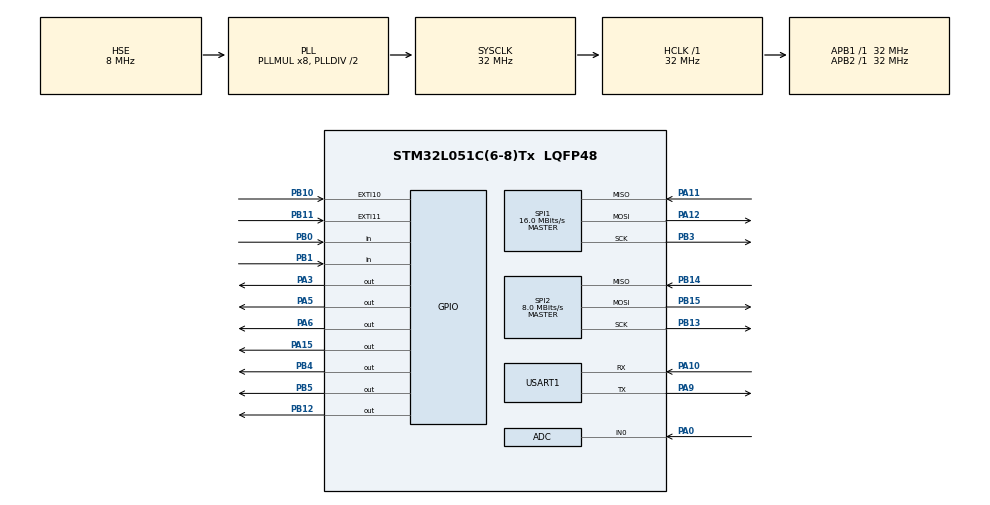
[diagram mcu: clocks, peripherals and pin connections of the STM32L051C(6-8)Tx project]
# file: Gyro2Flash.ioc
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Mcu.Family=STM32L0
Mcu.Name=STM32L051C(6-8)Tx
Mcu.Package=LQFP48
NVIC.USART1_IRQn=true\:0\:0\:false\:false\:true\:true\:true\:true
PA0.Mode=IN0
PA0.Signal=ADC_IN0
PA10.Mode=Asynchronous
PA10.Signal=USART1_RX
PA11.Mode=Full_Duplex_Master
PA11.Signal=SPI1_MISO
PA12.Mode=Full_Duplex_Master
PA12.Signal=SPI1_MOSI
PA13.Mode=Serial_Wire
PA13.Signal=SYS_SWDIO
PA14.Mode=Serial_Wire
PA14.Signal=SYS_SWCLK
PA15.GPIO_Speed=GPIO_SPEED_FREQ_VERY_HIGH
PA15.Signal=GPIO_Output
PA3.Signal=GPIO_Output
PA5.Signal=GPIO_Output
PA6.Signal=GPIO_Output
PA9.Mode=Asynchronous
PA9.Signal=USART1_TX
PB0.Signal=GPIO_Input
PB1.Signal=GPIO_Input
PB10.Signal=GPXTI10
PB11.Signal=GPXTI11
PB12.GPIO_Speed=GPIO_SPEED_FREQ_VERY_HIGH
PB12.Signal=GPIO_Output
PB13.Mode=Full_Duplex_Master
PB13.Signal=SPI2_SCK
PB14.Mode=Full_Duplex_Master
PB14.Signal=SPI2_MISO
PB15.Mode=Full_Duplex_Master
PB15.Signal=SPI2_MOSI
PB3.Mode=Full_Duplex_Master
PB3.Signal=SPI1_SCK
PB4.Signal=GPIO_Output
PB5.Signal=GPIO_Output
PC14-OSC32_IN.Mode=LSE-External-Oscillator
PC14-OSC32_IN.Signal=RCC_OSC32_IN
PC15-OSC32_OUT.Mode=LSE-External-Oscillator
PC15-OSC32_OUT.Signal=RCC_OSC32_OUT
PH0-OSC_IN.Mode=HSE-External-Oscillator
PH0-OSC_IN.Signal=RCC_OSC_IN
PH1-OSC_OUT.Mode=HSE-External-Oscillator
PH1-OSC_OUT.Signal=RCC_OSC_OUT
ProjectManager.HeapSize=0x200
ProjectManager.StackSize=0x400
ProjectManager.TargetToolchain=Makefile
RCC.AHBFreq_Value=32000000
RCC.APB1Freq_Value=32000000
RCC.APB1TimFreq_Value=32000000
RCC.APB2Freq_Value=32000000
RCC.APB2TimFreq_Value=32000000
RCC.HCLKFreq_Value=32000000
RCC.HSE_VALUE=8000000
RCC.HSI16_VALUE=16000000
RCC.HSI_VALUE=16000000
RCC.MSI_VALUE=2097000
RCC.PLLMUL=RCC_PLLMUL_8
RCC.PLLSourceVirtual=RCC_PLLSOURCE_HSE
RCC.SYSCLKFreq_VALUE=32000000
RCC.SYSCLKSource=RCC_SYSCLKSOURCE_PLLCLK
RCC.VCOOutputFreq_Value=64000000
SPI1.CalculateBaudRate=16.0 MBits/s
SPI1.Direction=SPI_DIRECTION_2LINES
SPI1.Mode=SPI_MODE_MASTER
SPI1.VirtualType=VM_MASTER
SPI2.BaudRatePrescaler=SPI_BAUDRATEPRESCALER_4
SPI2.CalculateBaudRate=8.0 MBits/s
SPI2.Direction=SPI_DIRECTION_2LINES
SPI2.Mode=SPI_MODE_MASTER
SPI2.VirtualType=VM_MASTER
USART1.VirtualMode-Asynchronous=VM_ASYNC
board=custom

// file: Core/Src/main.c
/* USER CODE BEGIN Header */
/**
 ******************************************************************************
 * @file           : main.c
 * @brief          : Main program body
 ******************************************************************************
 * @attention
 *
 * Copyright (c) 2023 STMicroelectronics.
 * All rights reserved.
 *
 * This software is licensed under terms that can be found in the LICENSE file
 * in the root directory of this software component.
 * If no LICENSE file comes with this software, it is provided AS-IS.
 *
 ******************************************************************************
 */
/* USER CODE END Header */
#include "main.h"
#include "adc.h"
#include "spi.h"
#include "usart.h"
#include "gpio.h"
#include "lsm6dsrx_ctrl.h"
#include "at25sl128_ctrl.h"

/* USER CODE BEGIN PD */
const struct command_t commands[] = {
  {
    .pCmd = "erase all",
    .pContent = "erasing all the memory... it may take a while.\r\n",
    .state = GYRO2FLASH_CMD_ERASE_ALL,
  },
  // {
  //   .pCmd = "erase reserve",
  //   .pContent = "erasing reserve area... it is not recommanded.\r\n",
  //   .state = GYRO2FLASH_CMD_ERASE_RESERVE,
  // },
  {
    .pCmd = "read reserve",
    .pContent = "start reading reserve area...\r\n",
    .state = GYRO2FLASH_CMD_READ_RESERVE,
  },
  {
    .pCmd = "read all",
    .pContent = "start reading all the memory...\r\n",
    .state = GYRO2FLASH_CMD_READ_ALL,
  },
  {
    .pCmd = "read",
    .pContent = "",
    .state = GYRO2FLASH_CMD_READ_SILCE,
  },
};
/* USER CODE END PD */

/* USER CODE BEGIN PV */
stmdev_ctx_t lsm6dsrx_ctx;
int gyro2flash_state = GYRO2FLASH_IDLE;
extern uint8_t uart_rx_flag;
extern uint8_t uart_rx_buffer[];
/* USER CODE END PV */

void SystemClock_Config(void);

int main(void)
{
  /* USER CODE BEGIN 1 */
  uint8_t  reserve_data[RESERVE_DATA_SIZE] = {0};
  uint8_t  total_block_count = 0;
  uint32_t write_address = RESERVE_DATA_SIZE;
  uint32_t write_start_address = write_address;
  uint32_t write_block_count = 0;
  uint8_t  command_flag = 0;
  /* USER CODE END 1 */

  /* MCU Configuration--------------------------------------------------------*/

  /* Reset of all peripherals, Initializes the Flash interface and the Systick. */
  HAL_Init();

  /* Configure the system clock */
  SystemClock_Config();

  /* Initialize all configured peripherals */
  MX_GPIO_Init();
  HAL_GPIO_WritePin(AT25SL128_CTRL_CS_GPIO_PORT, AT25SL128_CTRL_CS_PIN, GPIO_PIN_SET);
  HAL_GPIO_WritePin(GPIOB, GPIO_PIN_4, GPIO_PIN_SET);
  HAL_GPIO_WritePin(GPIOB, GPIO_PIN_5, GPIO_PIN_SET);
  HAL_GPIO_WritePin(LSM6DSRX_CTRL_CS_GPIO_PORT, LSM6DSRX_CTRL_CS_PIN, GPIO_PIN_SET);
  MX_ADC_Init();
  MX_SPI1_Init();
  MX_SPI2_Init();
  MX_USART1_UART_Init();
  /* USER CODE BEGIN 2 */
  lsm6dsrx_read_data_polling_init(&lsm6dsrx_ctx);
  at25sl128_init();
  back_to_idle();
  // UART_RX_IT();
  // read reserve data & set start address & block count
  at25sl128_read_data(RESERVE_ADDRESS, reserve_data, RESERVE_DATA_SIZE);
  for (int i = 0; i < MAX_BLOCK_COUNT; i++)
  {
    if (reserve_data[6 * i] == 0xff) {
      total_block_count = i;
      if (i == 0)
      {
        write_start_address = BLOCK_SIZE;
      }
      else
      {
        uint8_t idx = 6 * (i - 1);
        write_address = ((reserve_data[idx + 2] << 8) | reserve_data[idx + 1]) * BLOCK_SIZE
                      + ((reserve_data[idx + 5] << 16) | (reserve_data[idx + 4] << 8) | reserve_data[idx + 3]) * LSM6DSRX_DATA_SIZE;
        write_start_address = (uint32_t)((write_address + BLOCK_SIZE - 1)/ BLOCK_SIZE);
        write_address = write_start_address * BLOCK_SIZE;
      }
      break;
    }
  }
  /* USER CODE END 2 */

  /* Infinite loop */
  /* USER CODE BEGIN WHILE */
  while (1)
  {
    if (gyro2flash_state == GYRO2FLASH_IDLE || gyro2flash_state == GYRO2FLASH_OVERFLOW)
    {
      if (uart_rx_flag == 1)
      {
        command_flag = 0;
        for (int i = 0; i < ARRAY_SIZE(commands); i++)
        {
          if (strncmp((char *)uart_rx_buffer, commands[i].pCmd, strlen(commands[i].pCmd)) == 0)
          {
            gyro2flash_state = commands[i].state;
            printf("%s", commands[i].pContent);
            HAL_GPIO_WritePin(GPIOA, GPIO_PIN_3, GPIO_PIN_RESET);
            HAL_GPIO_WritePin(GPIOA, GPIO_PIN_5, GPIO_PIN_RESET);
            HAL_GPIO_WritePin(GPIOA, GPIO_PIN_6, GPIO_PIN_SET);
            command_flag = 1;
            break;
          }
        }
        if (command_flag == 0) {
          printf("Invalid command, please input again.\r\n");
          uart_rx_flag = 0;
          UART_RX_IT();
        }
      }
      else
      {
        if (HAL_GPIO_ReadPin(WORK_MODE_BUTTON_GPIO_GROUP, WORK_MODE_BUTTON_GPIO_PIN) == GPIO_PIN_RESET)
        {
          do {
            HAL_Delay(20);
          } while (HAL_GPIO_ReadPin(WORK_MODE_BUTTON_GPIO_GROUP, WORK_MODE_BUTTON_GPIO_PIN) == GPIO_PIN_RESET);
          if (total_block_count >= MAX_BLOCK_COUNT)
          {
            printf("Already test 50 times, please read out and earse data before testing.\r\n");
            gyro2flash_state = GYRO2FLASH_OVERFLOW;
            uart_rx_flag = 0;
            UART_RX_IT();
            HAL_GPIO_WritePin(GPIOA, GPIO_PIN_5, GPIO_PIN_RESET);
            HAL_GPIO_WritePin(GPIOA, GPIO_PIN_6, GPIO_PIN_RESET);
          }
          else
          {
            write_start_address = (uint32_t)((write_address + BLOCK_SIZE - 1)/ BLOCK_SIZE);
            write_address = write_start_address * BLOCK_SIZE;
            // printf("start testing block 0x%x\r\n", write_start_address);
            // printf("write address: 0x%x\r\n", write_address);
            gyro2flash_state = GYRO2FLASH_WORKING;
            HAL_GPIO_WritePin(GPIOA, GPIO_PIN_3, GPIO_PIN_RESET);
            HAL_GPIO_WritePin(GPIOA, GPIO_PIN_5, GPIO_PIN_SET);
            HAL_GPIO_WritePin(GPIOA, GPIO_PIN_6, GPIO_PIN_RESET);
          }
        }
      }
    }
    // else if (gyro2flash_state == GYRO2FLASH_CMD_ERASE_RESERVE)
    // {
    //   at25sl128_erase_4k(RESERVE_ADDRESS);
    //   back_to_idle();
    // }
    else if (gyro2flash_state == GYRO2FLASH_CMD_ERASE_ALL)
    {
      at25sl128_erase_all();
      total_block_count = 0;
      write_address = RESERVE_DATA_SIZE;
      printf("all the memory has been erased.\r\n");
      back_to_idle();
    }
    else if (gyro2flash_state == GYRO2FLASH_CMD_READ_RESERVE)
    {
      at25sl128_read_data(RESERVE_ADDRESS, reserve_data, RESERVE_DATA_SIZE);
      for (int i = 0; i < MAX_BLOCK_COUNT; i++)
      {
        if (reserve_data[6 * i] == 0xff)
          break;
        printf("index %d with start address: 0x%x, size: %d\n",
               reserve_data[6 * i],
               ((reserve_data[6 * i + 2] << 8) | reserve_data[6 * i + 1]) * BLOCK_SIZE,
               ((reserve_data[6 * i + 5] << 16) | (reserve_data[6 * i + 4] << 8) | reserve_data[6 * i + 3]) * LSM6DSRX_DATA_SIZE);
        HAL_Delay(1);
      }
      printf("reserve data has been read out.\r\n");
      back_to_idle();
    }
    else if (gyro2flash_state == GYRO2FLASH_CMD_READ_ALL)
    {
      at25sl128_read_data(RESERVE_ADDRESS, reserve_data, RESERVE_DATA_SIZE);
      for (int index = 0; index < total_block_count; index++) {
        uint32_t start_addr = ((reserve_data[6 * index + 2] << 8) | reserve_data[6 * index + 1]) * BLOCK_SIZE;
        uint32_t end_addr = start_addr + ((reserve_data[6 * index + 5] << 16) | (reserve_data[6 * index + 4] << 8) | reserve_data[6 * index + 3]) * LSM6DSRX_DATA_SIZE;
        printf("reading slice index: %d\n, start address from: 0x%x, size: %d\n",
                index + 1,
                ((reserve_data[6 * index + 2] << 8) | reserve_data[6 * index + 1]) * BLOCK_SIZE,
                ((reserve_data[6 * index + 5] << 16) | (reserve_data[6 * index + 4] << 8) | reserve_data[6 * index + 3]) * LSM6DSRX_DATA_SIZE);
        for (int addr = start_addr; addr < end_addr; addr += LSM6DSRX_DATA_SIZE)
        {
          int16_t data[LSM6DSRX_DATA_SIZE / 2] = {0};
          at25sl128_read_data(addr, (uint8_t *)data, LSM6DSRX_DATA_SIZE);
          printf("%d, %d, %d, %d, %d, %d\n",
                  data[0], data[1], data[2], data[3], data[4], data[5]);
          HAL_Delay(1);
        }
      }
      printf("all the data has been read out.\r\n");
      back_to_idle();
    }
    else if (gyro2flash_state == GYRO2FLASH_CMD_READ_SILCE)
    {
      if (total_block_count == 0) {
        printf("memory is empty\n");
        back_to_idle();
      }
      else
      {
        printf("please input the index of the slice:\n");
        HAL_Delay(10);
        uart_rx_flag = 0;
        UART_RX_IT();
        gyro2flash_state = GYRO2FLASH_CMD_WAIT_FOR_INDEX;
      }
    }
    else if (gyro2flash_state == GYRO2FLASH_CMD_WAIT_FOR_INDEX)
    {
      if (uart_rx_flag == 1)
      {
        uint8_t index = (uint8_t)atoi(uart_rx_buffer) - 1;
        if (index > total_block_count)
        {
          printf("index out of range, total slice count: %d, please reselect: \n", total_block_count);
          uart_rx_flag = 0;
          UART_RX_IT();
        }
        else
        {
          if (reserve_data[6 * index] == 0xff) {
            at25sl128_read_data(RESERVE_ADDRESS, reserve_data, RESERVE_DATA_SIZE);
          }
          uint32_t start_addr = ((reserve_data[6 * index + 2] << 8) | reserve_data[6 * index + 1]) * BLOCK_SIZE;
          uint32_t end_addr = start_addr + ((reserve_data[6 * index + 5] << 16) | (reserve_data[6 * index + 4] << 8) | reserve_data[6 * index + 3]) * LSM6DSRX_DATA_SIZE;
          printf("reading slice index: %d, start address from: 0x%x, size: %d\n",
                  index + 1, start_addr, end_addr - start_addr);
          for (int addr = start_addr; addr < end_addr; addr += LSM6DSRX_DATA_SIZE)
          {
            int16_t data[LSM6DSRX_DATA_SIZE / 2] = {0};
            at25sl128_read_data(addr, (uint8_t *)data, LSM6DSRX_DATA_SIZE);
            printf("%d, %d, %d, %d, %d, %d\n",
                    data[0], data[1], data[2], data[3], data[4], data[5]);
            HAL_Delay(1);
          }
          printf("slice has been read out.\r\n");
          back_to_idle();
        }
      }
    }
    else if (gyro2flash_state == GYRO2FLASH_WORKING)
    {
      if (HAL_GPIO_ReadPin(WORK_MODE_BUTTON_GPIO_GROUP, WORK_MODE_BUTTON_GPIO_PIN) == GPIO_PIN_RESET)
      {
        do {
          HAL_Delay(20);
        } while (HAL_GPIO_ReadPin(WORK_MODE_BUTTON_GPIO_GROUP, WORK_MODE_BUTTON_GPIO_PIN) == GPIO_PIN_RESET);
        back_to_idle();
        uint8_t tmp[6] = {0};
        tmp[0] = total_block_count + 1;
        tmp[1] = write_start_address & 0xff;
        tmp[2] = (write_start_address >> 8) & 0xff;
        tmp[3] = write_block_count & 0xff;
        tmp[4] = (write_block_count >> 8) & 0xff;
        at25sl128_write_data(6 * total_block_count, tmp, 6);
        // printf("last write_address: 0x%x\n", write_address);
        total_block_count++;
        write_block_count = 0;
      }
      if (write_address >= MAX_FLASH_SIZE - LSM6DSRX_DATA_SIZE)
      {
        printf("flash is full, please read data and clear flash.\n");
        gyro2flash_state = GYRO2FLASH_OVERFLOW;
        uart_rx_flag = 0;
        UART_RX_IT();
        HAL_GPIO_WritePin(GPIOA, GPIO_PIN_5, GPIO_PIN_RESET);
        HAL_GPIO_WritePin(GPIOA, GPIO_PIN_6, GPIO_PIN_RESET);
      }
      int16_t gyro_data[LSM6DSRX_DATA_SIZE / 2] = {0};
      int res = lsm6dsrx_read_data_polling(&lsm6dsrx_ctx, &gyro_data[0], &gyro_data[3]);
      printf("res: %d, data: %d, %d, %d, %d, %d, %d\n", res,
              gyro_data[0], gyro_data[1], gyro_data[2], gyro_data[3], gyro_data[4], gyro_data[5]);
      if (res == 0)
      {
        at25sl128_write_data(write_address, (uint8_t *)gyro_data, LSM6DSRX_DATA_SIZE);
        write_address += LSM6DSRX_DATA_SIZE;
        write_block_count++;
      }
      else
      {
        printf("read data from lsm6dsrx failed, res: %d\n", res);
      }
      HAL_Delay(1);
    }
    /* USER CODE END WHILE */

  }
}

void back_to_idle(void)
{
  uart_rx_flag = 0;
  UART_RX_IT();
  gyro2flash_state = GYRO2FLASH_IDLE;
  HAL_GPIO_WritePin(GPIOA, GPIO_PIN_3, GPIO_PIN_SET);
  HAL_GPIO_WritePin(GPIOA, GPIO_PIN_5, GPIO_PIN_RESET);
  HAL_GPIO_WritePin(GPIOA, GPIO_PIN_6, GPIO_PIN_RESET);
}

void SystemClock_Config(void)
{
  RCC_OscInitTypeDef RCC_OscInitStruct = {0};
  RCC_ClkInitTypeDef RCC_ClkInitStruct = {0};
  RCC_PeriphCLKInitTypeDef PeriphClkInit = {0};

  /** Configure the main internal regulator output voltage
   */
  __HAL_PWR_VOLTAGESCALING_CONFIG(PWR_REGULATOR_VOLTAGE_SCALE1);

  /** Initializes the RCC Oscillators according to the specified parameters
   * in the RCC_OscInitTypeDef structure.
   */
  RCC_OscInitStruct.OscillatorType = RCC_OSCILLATORTYPE_HSE;
  RCC_OscInitStruct.HSEState = RCC_HSE_ON;
  RCC_OscInitStruct.PLL.PLLState = RCC_PLL_ON;
  RCC_OscInitStruct.PLL.PLLSource = RCC_PLLSOURCE_HSE;
  RCC_OscInitStruct.PLL.PLLMUL = RCC_PLLMUL_8;
  RCC_OscInitStruct.PLL.PLLDIV = RCC_PLLDIV_2;
  if (HAL_RCC_OscConfig(&RCC_OscInitStruct) != HAL_OK)
  {
    Error_Handler();
  }

  /** Initializes the CPU, AHB and APB buses clocks
   */
  RCC_ClkInitStruct.ClockType = RCC_CLOCKTYPE_HCLK | RCC_CLOCKTYPE_SYSCLK | RCC_CLOCKTYPE_PCLK1 | RCC_CLOCKTYPE_PCLK2;
  RCC_ClkInitStruct.SYSCLKSource = RCC_SYSCLKSOURCE_PLLCLK;
  RCC_ClkInitStruct.AHBCLKDivider = RCC_SYSCLK_DIV1;
  RCC_ClkInitStruct.APB1CLKDivider = RCC_HCLK_DIV1;
  RCC_ClkInitStruct.APB2CLKDivider = RCC_HCLK_DIV1;

  if (HAL_RCC_ClockConfig(&RCC_ClkInitStruct, FLASH_LATENCY_1) != HAL_OK)
  {
    Error_Handler();
  }
  PeriphClkInit.PeriphClockSelection = RCC_PERIPHCLK_USART1;
  PeriphClkInit.Usart1ClockSelection = RCC_USART1CLKSOURCE_PCLK2;
  if (HAL_RCCEx_PeriphCLKConfig(&PeriphClkInit) != HAL_OK)
  {
    Error_Handler();
  }
}

void Error_Handler(void)
{
  __disable_irq();
  while (1)
  {
  }
}
